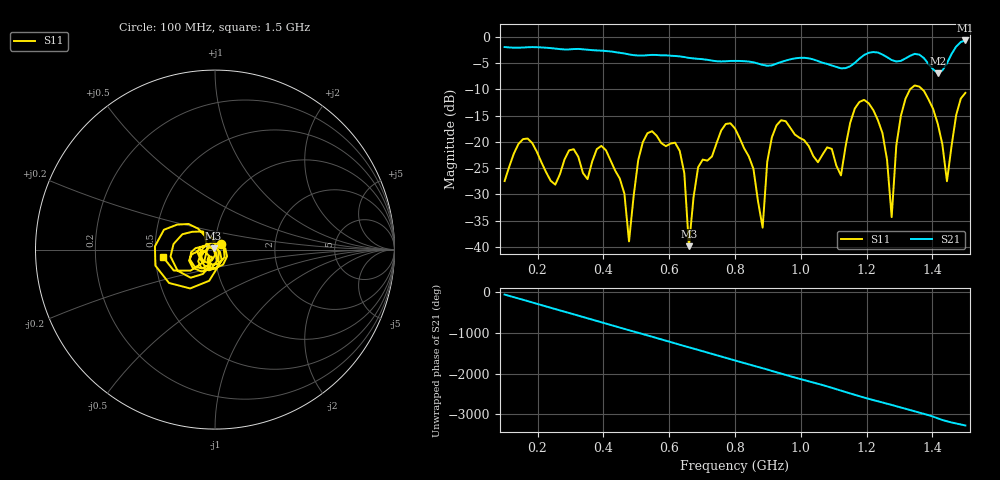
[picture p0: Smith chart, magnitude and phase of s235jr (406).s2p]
! NanoVNA-App
! Date: 2025-09-25 15:07:19
! Start: 100MHz Stop: 1,5GHz Points: 101
! S-Parameter data: F S11 S21 S12 S22
# Hz S RI R 50
!  Frequency  S11_Real  S11_Imag  S21_Real  S21_Imag  S12_Real  S12_Imag  S22_Real  S22_Imag
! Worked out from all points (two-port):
!   101 points, 100 MHz to 1.5 GHz, reference 50 ohm
!   highest |S21| = -0.71 dB at 1.5 GHz (marker M1); lowest = -6.9 dB at 1.416 GHz (marker M2)
!   |S21| within 3 dB of the highest: start of sweep to 625.9 MHz; 1.187 GHz to 1.257 GHz (69.53 MHz wide, 5.69 % of centre) (the widest 2 of 4)
!   lowest |S11| = -39.9 dB at 660 MHz (marker M3), VSWR 1.02, Z = 49.2 + j0.635 ohm
!   |S11| at or under -10 dB: start of sweep to 1.332 GHz; 1.369 GHz to end of sweep
!   S12 and S22 are empty: the file has one direction only
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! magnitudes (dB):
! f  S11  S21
! 100 MHz  -27.5  -2.0
! 170 MHz  -19.4  -2.0
! 338 MHz  -25.9  -2.4
! 408 MHz  -21.6  -2.7
! 478 MHz  -39.0  -3.4
! 520 MHz  -20.1  -3.6
! 576 MHz  -20.2  -3.5
! 632 MHz  -21.7  -3.7
! 660 MHz  -39.9  -4.0
! 688 MHz  -24.8  -4.2
! 800 MHz  -17.5  -4.6
! 884 MHz  -36.3  -5.4
! 926 MHz  -16.9  -5.1
! 1.038 GHz  -22.7  -4.3
! 1.122 GHz  -26.4  -6.0
! 1.206 GHz  -12.6  -3.1
! 1.276 GHz  -34.3  -4.4
! 1.29 GHz  -20.8  -4.7
! 1.332 GHz  -10.0  -3.6
! 1.416 GHz  -16.6  -6.9
! 1.444 GHz  -27.5  -5.1
! 1.5 GHz  -10.7  -0.7
